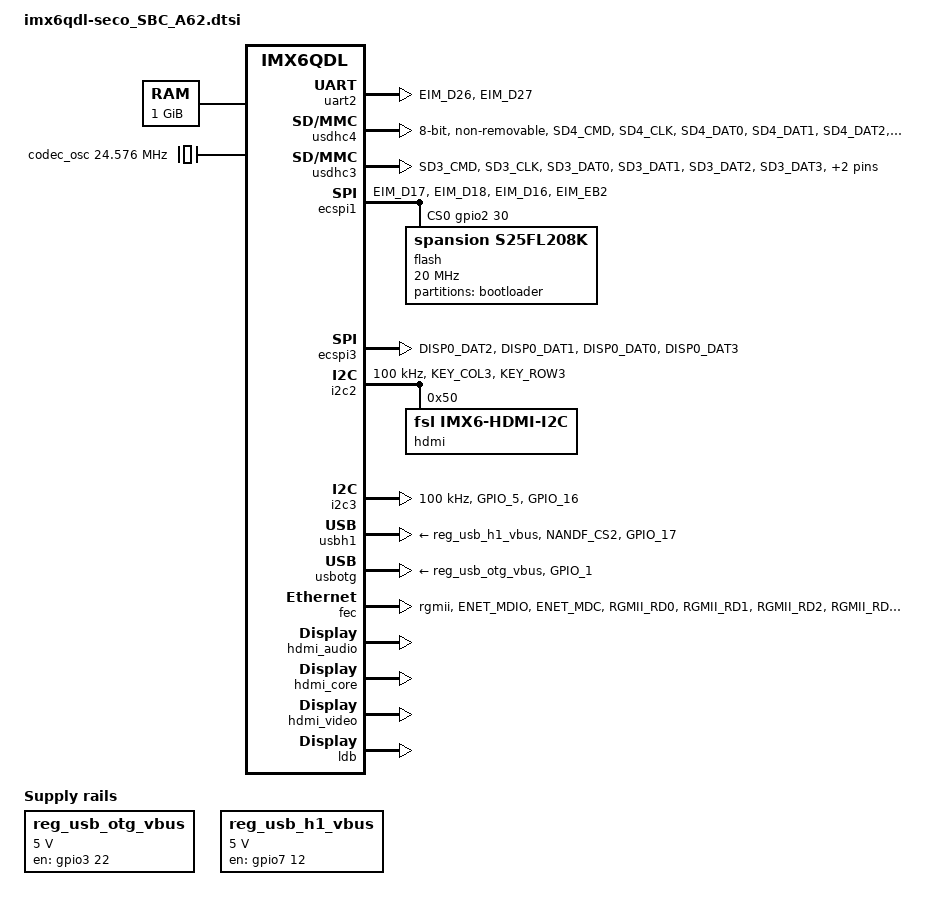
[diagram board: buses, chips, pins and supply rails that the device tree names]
/*
 * Copyright 2012 Freescale Semiconductor, Inc.
 * Copyright 2011 Linaro Ltd.
 *
 * The code contained herein is licensed under the GNU General Public
 * License. You may obtain a copy of the GNU General Public License
 * Version 2 or later at the following locations:
 *
 * http://www.opensource.org/licenses/gpl-license.html
 * http://www.gnu.org/copyleft/gpl.html
 */

#include <dt-bindings/input/input.h>
#include <dt-bindings/seco/ectrl.h>


/ {
	aliases {
		mxcfb0 = &mxcfb1;
		mxcfb1 = &mxcfb2;
		mxcfb2 = &mxcfb3;
		mxcfb3 = &mxcfb4;
	};

	memory {
		reg = <0x10000000 0x40000000>;
	};

	clocks {
		codec_osc: anaclk2 {
			compatible = "fixed-clock";
			#clock-cells = <0>;
			clock-frequency = <24576000>;
		};
	};

	regulators {
		compatible = "simple-bus";
		#address-cells = <1>;
		#size-cells = <0>;

		reg_usb_otg_vbus: regulator@0 {
			compatible = "regulator-fixed";
			reg = <0>;
			regulator-name = "usb_otg_vbus";
			regulator-min-microvolt = <5000000>;
			regulator-max-microvolt = <5000000>;
			gpio = <&gpio3 22 0>;
			enable-active-high;
		};

		reg_usb_h1_vbus: regulator@1 {
			compatible = "regulator-fixed";
			reg = <1>;
			regulator-name = "usb_h1_vbus";
			regulator-min-microvolt = <5000000>;
			regulator-max-microvolt = <5000000>;
			gpio = <&gpio7 12 0>;
			enable-active-high;
		};
	};

	sound-hdmi {
		compatible = "fsl,imx6q-audio-hdmi",
			     "fsl,imx-audio-hdmi";
		model = "imx-audio-hdmi";
		hdmi-controller = <&hdmi_audio>;
	};


	mxcfb1: fb@0 {
		compatible = "fsl,mxc_sdc_fb";
		disp_dev = "ldb";
		interface_pix_fmt = "RGB666";
		mode_str = "LDB-WVGA";
		default_bpp = <16>;
		int_clk = <0>;
		late_init = <0>;
		status = "disabled";
	};

	mxcfb2: fb@1 {
		compatible = "fsl,mxc_sdc_fb";
		disp_dev = "hdmi";
		interface_pix_fmt = "RGB24";
		mode_str ="1920x1080M@60";
		default_bpp = <24>;
		int_clk = <0>;
		late_init = <0>;
		status = "disabled";
	};

	mxcfb3: fb@2 {
		compatible = "fsl,mxc_sdc_fb";
		disp_dev = "lcd";
		interface_pix_fmt = "RGB565";
		mode_str ="CLAA-WVGA";
		default_bpp = <16>;
		int_clk = <0>;
		late_init = <0>;
		status = "disabled";
	};

	mxcfb4: fb@3 {
		compatible = "fsl,mxc_sdc_fb";
		disp_dev = "ldb";
		interface_pix_fmt = "RGB666";
		default_bpp = <16>;
		int_clk = <0>;
		late_init = <0>;
		status = "disabled";
	};

#include <dt-bindings/pwm/pwm.h>
//	backlight {
//		compatible = "pwm-backlight";
//		pwms = <&pwm1 0 5000000>;
//		brightness-levels = <0 4 8 16 32 64 128 255>;
//		default-brightness-level = <7>;
//		enable-gpios = <&gpio1 4 0>; 
//		status = "okay";
//	};

//	v4l2_cap_0 {
//		compatible = "fsl,imx6q-v4l2-capture";
//		ipu_id = <0>;
//		csi_id = <0>;
//		mclk_source = <0>;
//		status = "okay";
//	};
//
//	v4l2_cap_1 {
//		compatible = "fsl,imx6q-v4l2-capture";
//		ipu_id = <0>;
//		csi_id = <1>;
//		mclk_source = <0>;
//		status = "okay";
//	};
//
//	v4l2_out {
//		compatible = "fsl,mxc_v4l2_output";
//		status = "okay";
//	};

//	mipi_dsi_reset: mipi-dsi-reset {
//		compatible = "gpio-reset";
//		reset-gpios = <&gpio6 11 GPIO_ACTIVE_LOW>;
//		reset-delay-us = <50>;
//		#reset-cells = <0>;
//	};
};

&clks {
	assigned-clocks = <&clks IMX6QDL_PLL4_BYPASS_SRC>,
			  <&clks IMX6QDL_PLL4_BYPASS>,
			  <&clks IMX6QDL_CLK_PLL4_POST_DIV>;
	assigned-clock-parents = <&clks IMX6QDL_CLK_LVDS2_IN>,
				<&clks IMX6QDL_PLL4_BYPASS_SRC>;
	assigned-clock-rates = <0>, <0>, <24576000>;
};



/*  __________________________________________________________________________
 * |                                                                          |
 * |                                    IOMUX                                 |
 * |__________________________________________________________________________|
 */
&iomuxc {
	pinctrl-names = "default";
	pinctrl-0 = <&pinctrl_hog>;

	imx6qdl-SBC_A62 {

		pinctrl_hog: hoggrp {
			fsl,pins = <
			>;
		};


/*  __________________________________________________________________________
 * |________________________________ UART ____________________________________|
 */
		pinctrl_uart2: uart2grp {
			fsl,pins = <
				MX6QDL_PAD_EIM_D26__UART2_TX_DATA	0x1b0b1
				MX6QDL_PAD_EIM_D27__UART2_RX_DATA	0x1b0b1
			>;
		};


/*  __________________________________________________________________________
 * |_________________________________ I2C ____________________________________|
 */
		pinctrl_i2c2: i2c2grp {
			fsl,pins = <
				MX6QDL_PAD_KEY_COL3__I2C2_SCL           0x4001b8b1
				MX6QDL_PAD_KEY_ROW3__I2C2_SDA           0x4001b8b1
			 >;
		};

		pinctrl_i2c3: i2c3grp {
			fsl,pins = <
				MX6QDL_PAD_GPIO_5__I2C3_SCL             0x4001b8b1
				MX6QDL_PAD_GPIO_16__I2C3_SDA            0x4001b8b1
			>;
		};
/*  __________________________________________________________________________
 * |_________________________________ SPI ____________________________________|
 */
		pinctrl_ecspi1: ecspi1grp {
			fsl,pins = <
				MX6QDL_PAD_EIM_D17__ECSPI1_MISO         0x100b1
				MX6QDL_PAD_EIM_D18__ECSPI1_MOSI         0x100b1
				MX6QDL_PAD_EIM_D16__ECSPI1_SCLK         0x100b1
				/*  CS SPI 1  */
				MX6QDL_PAD_EIM_EB2__GPIO2_IO30          0x80000000

			>;
		};
		
		pinctrl_ecspi3: ecspi3grp {
			fsl,pins = <
			        MX6QDL_PAD_DISP0_DAT2__ECSPI3_MISO      0x100b1
				MX6QDL_PAD_DISP0_DAT1__ECSPI3_MOSI      0x100b1
				MX6QDL_PAD_DISP0_DAT0__ECSPI3_SCLK      0x100b1
				/*  CS SPI 2  */
				MX6QDL_PAD_DISP0_DAT3__GPIO4_IO24       0x80000000
			>;
		};
/*  __________________________________________________________________________
 * |________________________________ USDHC ___________________________________|
 */
		pinctrl_usdhc3: usdhc3grp {
			fsl,pins = <
				MX6QDL_PAD_SD3_CMD__SD3_CMD		0x17059
				MX6QDL_PAD_SD3_CLK__SD3_CLK		0x10059
				MX6QDL_PAD_SD3_DAT0__SD3_DATA0		0x17059
				MX6QDL_PAD_SD3_DAT1__SD3_DATA1		0x17059
				MX6QDL_PAD_SD3_DAT2__SD3_DATA2		0x17059
				MX6QDL_PAD_SD3_DAT3__SD3_DATA3		0x17059
				MX6QDL_PAD_NANDF_D5__GPIO2_IO05         0x17059
			>;
		};

		pinctrl_usdhc4: usdhc4grp {
			fsl,pins = <
				MX6QDL_PAD_SD4_CMD__SD4_CMD		0x17059
				MX6QDL_PAD_SD4_CLK__SD4_CLK		0x10059
				MX6QDL_PAD_SD4_DAT0__SD4_DATA0		0x17059
				MX6QDL_PAD_SD4_DAT1__SD4_DATA1		0x17059
				MX6QDL_PAD_SD4_DAT2__SD4_DATA2		0x17059
				MX6QDL_PAD_SD4_DAT3__SD4_DATA3		0x17059
				MX6QDL_PAD_SD4_DAT4__SD4_DATA4		0x17059
				MX6QDL_PAD_SD4_DAT5__SD4_DATA5		0x17059
				MX6QDL_PAD_SD4_DAT6__SD4_DATA6		0x17059
				MX6QDL_PAD_SD4_DAT7__SD4_DATA7		0x17059
				MX6QDL_PAD_NANDF_D7__GPIO2_IO07         0x1f071 
			>;
		};


/*  __________________________________________________________________________
 * |______________________________ ETHERNET __________________________________|
 */
		pinctrl_enet: enetgrp {
			fsl,pins = <
				MX6QDL_PAD_ENET_MDIO__ENET_MDIO		0x1b0b0
				MX6QDL_PAD_ENET_MDC__ENET_MDC		0x1b0b0
				MX6QDL_PAD_RGMII_RD0__RGMII_RD0		0x1b0b0
				MX6QDL_PAD_RGMII_RD1__RGMII_RD1		0x1b0b0
				MX6QDL_PAD_RGMII_RD2__RGMII_RD2		0x1b0b0
				MX6QDL_PAD_RGMII_RD3__RGMII_RD3		0x1b0b0
				MX6QDL_PAD_RGMII_RX_CTL__RGMII_RX_CTL	0x1b0b0
				MX6QDL_PAD_RGMII_TD0__RGMII_TD0		0x1b0b0
				MX6QDL_PAD_RGMII_TD1__RGMII_TD1		0x1b0b0
				MX6QDL_PAD_RGMII_TD2__RGMII_TD2		0x1b0b0
				MX6QDL_PAD_RGMII_TD3__RGMII_TD3		0x1b0b0
				MX6QDL_PAD_RGMII_TX_CTL__RGMII_TX_CTL	0x1b0b0
				MX6QDL_PAD_RGMII_RXC__RGMII_RXC		0x1b0b0
				MX6QDL_PAD_RGMII_TXC__RGMII_TXC		0x1b0b0
				MX6QDL_PAD_ENET_REF_CLK__ENET_TX_CLK	0x1b0b0

				/*  Phy Interrupt  */
				MX6QDL_PAD_ENET_TX_EN__GPIO1_IO28       0x1f071
				/*  ENET RESET */
				MX6QDL_PAD_EIM_D23__GPIO3_IO23          0x1f071
			>;
		};


/*  __________________________________________________________________________
 * |__________________________________ USB ___________________________________|
 */
		pinctrl_usb_h1: usbh1grp {
			fsl,pins = <
				MX6QDL_PAD_NANDF_CS2__CCM_CLKO2         0x130b0
				MX6QDL_PAD_GPIO_17__GPIO7_IO12          0x1f071
			>;
		};

		pinctrl_usbotg: usbotggrp {
			fsl,pins = <
				MX6QDL_PAD_GPIO_1__USB_OTG_ID           0x17059 
			>;
		};

	};
};
/*  __________________________________________________________________________
 * |__________________________________________________________________________|
 */




/*  __________________________________________________________________________
 * |                                                                          |
 * |                                    UART                                  |
 * |__________________________________________________________________________|
 */
&uart2 {
	pinctrl-names = "default";
	pinctrl-0 = <&pinctrl_uart2>;
	status = "okay";
};
/*  __________________________________________________________________________
 * |__________________________________________________________________________|
 */


/*  __________________________________________________________________________
 * |                                                                          |
 * |                                   USDHC                                  |
 * |__________________________________________________________________________|
 */
&usdhc4 {
        pinctrl-names = "default";
        pinctrl-0 = <&pinctrl_usdhc4>;
        bus-width = <8>;
        no-1-8-v;
        non-removable;
        keep-power-in-suspend;
        status = "okay";
};

&usdhc3 {
        pinctrl-names = "default";
        pinctrl-0 = <&pinctrl_usdhc3>;
        cd-gpios = <&gpio7 0 0>;
        keep-power-in-suspend;
        enable-sdio-wakeup;
        no-1-8-v;
        status = "okay";
};
/*  __________________________________________________________________________
 * |__________________________________________________________________________|
 */


/*  __________________________________________________________________________
 * |                                                                          |
 * |                            SPI INTERFACE/DEVICE                          |
 * |__________________________________________________________________________|
 */
&ecspi1 {
	fsl,spi-num-chipselects = <1>;
	cs-gpios = <&gpio2 30 0>;
	pinctrl-names = "default";
	pinctrl-0 = <&pinctrl_ecspi1>;
	status = "okay";


	flash: m25p80@0 {
	
		#address-cells = <1>;
		#size-cells = <0>;
 
		compatible = "spansion,s25fl208k";
		spi-max-frequency = <20000000>;
		reg = <0>;

		partition@0 {
			label = "bootloader";
			reg = <0x00000000 0x00004000>;
		};
       };


};


&ecspi3 {
	fsl,spi-num-chipselects = <1>;
	cs-gpios = <&gpio4 24  0>;
	pinctrl-names = "default";
	pinctrl-0 = <&pinctrl_ecspi3>;
	status = "okay";
};
/*  __________________________________________________________________________
 * |__________________________________________________________________________|
 */


/*  __________________________________________________________________________
 * |                                                                          |
 * |                            I2C INTERFACE/DEVICE                          |
 * |__________________________________________________________________________|
 */
&i2c2 {
	clock-frequency = <100000>;
	pinctrl-names = "default";
	pinctrl-0 = <&pinctrl_i2c2>;
	status = "okay";
	
	hdmi: edid@50 {
		compatible = "fsl,imx6-hdmi-i2c";
		reg = <0x50>;
	};
};


&i2c3 {
	clock-frequency = <100000>;
	pinctrl-names = "default";
	pinctrl-0 = <&pinctrl_i2c3>;
	status = "okay";
};
/*  __________________________________________________________________________
 * |__________________________________________________________________________|
 */


/*  __________________________________________________________________________
 * |                                                                          |
 * |                                     USB                                  |
 * |__________________________________________________________________________|
 */
&usbh1 {
	vbus-supply = <&reg_usb_h1_vbus>;
	pinctrl-names = "default";
	pinctrl-0 = <&pinctrl_usb_h1>;
	status = "okay";
};


&usbotg {
	vbus-supply = <&reg_usb_otg_vbus>;
	pinctrl-names = "default";
	pinctrl-0 = <&pinctrl_usbotg>;
	disable-over-current;
	status = "okay";
};
/*  __________________________________________________________________________
 * |__________________________________________________________________________|
 */


/*  __________________________________________________________________________
 * |                                                                          |
 * |                                  ETHERNET                                |
 * |__________________________________________________________________________|
 */
&fec {
	pinctrl-names = "default";
	pinctrl-0 = <&pinctrl_enet>;
	phy-mode = "rgmii";
	phy-reset-gpios = <&gpio3 23 0>;
	phy-reset-duration = <10>;
	fsl,magic-packet;
	status = "okay";
};
/*  __________________________________________________________________________
 * |__________________________________________________________________________|
 */


/*  __________________________________________________________________________
 * |                                                                          |
 * |                                 VIDEO OUTPUT                             |
 * |__________________________________________________________________________|
 */
&hdmi_audio {
	status = "okay";
};


&hdmi_core {
	ipu_id = <0>;
	disp_id = <0>;
	status = "okay";
};


&hdmi_video {
	fsl,phy_reg_vlev = <0x0294>;
	fsl,phy_reg_cksymtx = <0x800d>;
	status = "okay";
};


&ldb {
	status = "okay";

	lvds-channel@0 {
		reg = <0>;
		fsl,data-mapping = "spwg";
		fsl,data-width = <18>;
		status = "okay";
		primary;

		display-timings {
			native-mode = <&timing3>;
			
			timing0: LDB-WVGA {
				clock-frequency = <38000000>;
				hactive = <800>;
				vactive = <480>;
				hback-porch = <56>;
				hfront-porch = <50>;
				vback-porch = <20>;
				vfront-porch = <53>;
				hsync-len = <180>;
				vsync-len = <30>;
			};
			
			timing1: LDB-SVGA {
				clock-frequency = <40000000>;
				hactive = <800>;
				vactive = <600>;
				hback-porch = <40>;
				hfront-porch = <60>;
				vback-porch = <10>;
				vfront-porch = <10>;
				hsync-len = <20>;
				vsync-len = <10>;
			};

			timing2: LDB-WXGA {
				clock-frequency = <72000000>;
				hactive = <1368>;
				vactive = <768>;
				hback-porch = <93>;
				hfront-porch = <33>;
				vback-porch = <22>;
				vfront-porch = <7>;
				hsync-len = <40>;
				vsync-len = <4>;
			};

			timing3: LDB-XGA {
				clock-frequency = <65000000>;
				hactive = <1024>;
				vactive = <768>;
				hback-porch = <1230>;
				hfront-porch = <40>;
				vback-porch = <21>;
				vfront-porch = <7>;
				hsync-len = <60>;
				vsync-len = <10>;
			};

			timing4: LDB-SXGA {
				clock-frequency = <54000000>;
				hactive = <1280>;
				vactive = <1024>;
				hback-porch = <220>;
				hfront-porch = <40>;
				vback-porch = <21>;
				vfront-porch = <7>;
				hsync-len = <60>;
				vsync-len = <10>;
			};

		};
	};

	lvds-channel@1 {
		reg = <1>;
		fsl,data-mapping = "spwg";
		fsl,data-width = <18>;
		status = "okay";

		crtc = "ipu2-di1";
		display-timings {
			native-mode = <&timing1>;
			timing6: seco_lvds1 {
				clock-frequency = <38000000>;
				hactive = <800>;
				vactive = <480>;
				hback-porch = <56>;
				hfront-porch = <50>;
				vback-porch = <20>;
				vfront-porch = <23>;
				hsync-len = <150>;
				vsync-len = <60>;
			};
		};
	};

};
/*  __________________________________________________________________________
 * |__________________________________________________________________________|
 */


